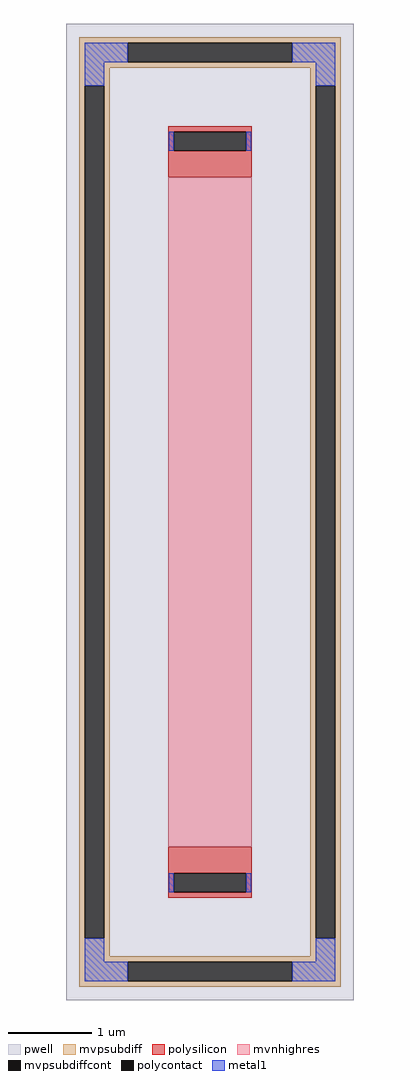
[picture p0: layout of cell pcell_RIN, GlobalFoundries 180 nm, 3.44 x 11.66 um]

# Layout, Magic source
magic
tech gf180mcuD
magscale 1 10
<< pwell >>
rect -344 -1166 344 1166
<< mvpsubdiff >>
rect -312 1121 312 1134
rect -312 1075 -196 1121
rect 196 1075 312 1121
rect -312 1062 312 1075
rect -312 1018 -240 1062
rect -312 -1018 -299 1018
rect -253 -1018 -240 1018
rect 240 1018 312 1062
rect -312 -1062 -240 -1018
rect 240 -1018 253 1018
rect 299 -1018 312 1018
rect 240 -1062 312 -1018
rect -312 -1075 312 -1062
rect -312 -1121 -196 -1075
rect 196 -1121 312 -1075
rect -312 -1134 312 -1121
<< mvpsubdiffcont >>
rect -196 1075 196 1121
rect -299 -1018 -253 1018
rect 253 -1018 299 1018
rect -196 -1121 196 -1075
<< polysilicon >>
rect -100 909 100 922
rect -100 863 -87 909
rect 87 863 100 909
rect -100 800 100 863
rect -100 -863 100 -800
rect -100 -909 -87 -863
rect 87 -909 100 -863
rect -100 -922 100 -909
<< polycontact >>
rect -87 863 87 909
rect -87 -909 87 -863
<< mvnhighres >>
rect -100 -800 100 800
<< metal1 >>
rect -299 1075 -196 1121
rect 196 1075 299 1121
rect -299 1018 -253 1075
rect 253 1018 299 1075
rect -98 863 -87 909
rect 87 863 98 909
rect -98 -909 -87 -863
rect 87 -909 98 -863
rect -299 -1075 -253 -1018
rect 253 -1075 299 -1018
rect -299 -1121 -196 -1075
rect 196 -1121 299 -1075
<< properties >>
string FIXED_BBOX -2760 -10980 2760 10980
<< end >>
